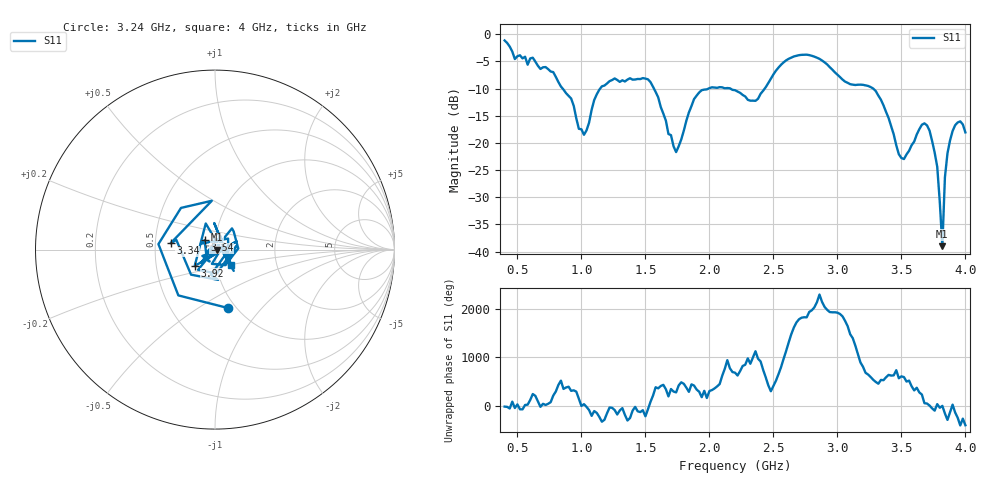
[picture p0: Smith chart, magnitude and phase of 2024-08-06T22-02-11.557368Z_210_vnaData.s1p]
!Created with skrf (http://scikit-rf.org).
# Hz S RI R 50.0
!freq ReS11 ImS11
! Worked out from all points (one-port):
!   181 points, 400 MHz to 4 GHz, reference 50 ohm
!   lowest |S11| = -39.0 dB at 3.82 GHz (marker M1), VSWR 1.02, Z = 51.1 - j0.0879 ohm
!   |S11| at or under -10 dB: 853.9 MHz to 1.146 GHz (292.4 MHz wide, 29.2 % of centre); 1.567 GHz to 1.992 GHz (425.5 MHz wide, 23.9 % of centre); 3.281 GHz to end of sweep (the widest 3 of 4)
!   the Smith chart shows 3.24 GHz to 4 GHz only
!   S11 on the Smith chart (normalised r, x): 3.24 GHz: 0.92, -0.68; 3.34 GHz: 0.60, +0.05; 3.54 GHz: 0.89, +0.09; 3.92 GHz: 0.78, -0.15; 4 GHz: 1.17, -0.21
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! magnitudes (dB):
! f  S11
! 400 MHz  -1.1
! 480 MHz  -4.6
! 860 MHz  -10.2
! 1.02 GHz  -18.5
! 1.14 GHz  -10.2
! 1.3 GHz  -8.8
! 1.54 GHz  -8.8
! 1.72 GHz  -20.6
! 1.76 GHz  -20.6
! 1.92 GHz  -10.7
! 2.2 GHz  -10.3
! 2.36 GHz  -12.3
! 2.66 GHz  -4.1
! 2.86 GHz  -4.5
! 3.1 GHz  -9.2
! 3.24 GHz  -9.5
! 3.34 GHz  -12.0
! 3.48 GHz  -22.1
! 3.54 GHz  -22.1
! 3.56 GHz  -21.4
! 3.66 GHz  -16.7
! 3.72 GHz  -17.7
! 3.78 GHz  -24.4
! 3.82 GHz  -39.0
! 3.84 GHz  -26.4
! 3.86 GHz  -21.9
! 3.92 GHz  -16.7
! 4 GHz  -18.1
